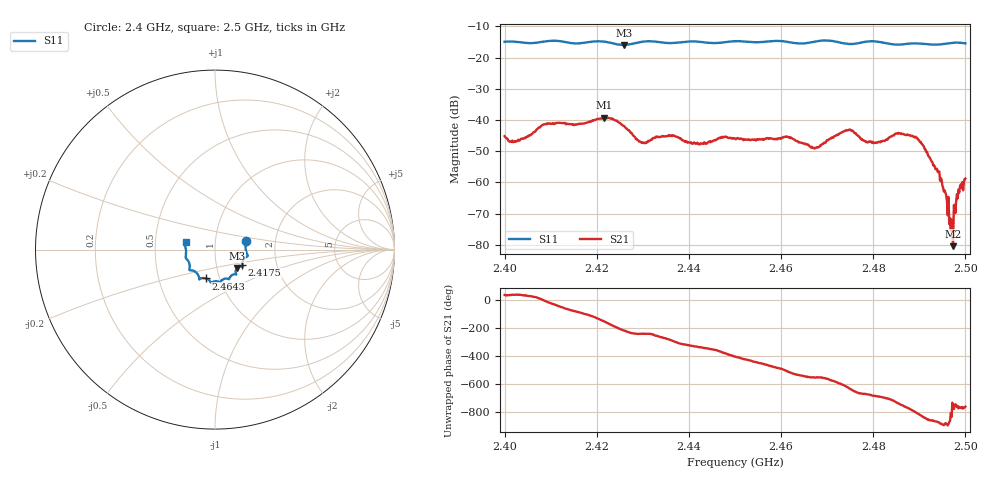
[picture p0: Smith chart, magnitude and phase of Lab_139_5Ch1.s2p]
# Hz S RI R 50
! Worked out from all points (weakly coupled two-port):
!   601 points, 2.4 GHz to 2.5 GHz, reference 50 ohm
!   highest |S21| = -39.27 dB at 2.4215 GHz (marker M1); lowest = -80.5 dB at 2.4973 GHz (marker M2)
!   lowest |S11| = -16.0 dB at 2.4258 GHz (marker M3), VSWR 1.38, Z = 62.3 - j13.2 ohm
!   |S11| at or under -10 dB: start of sweep to end of sweep
!   S12 and S22 are empty: the file has one direction only
!   S11 on the Smith chart (normalised r, x): 2.4 GHz: 1.41, +0.14; 2.4175 GHz: 1.34, -0.23; 2.4643 GHz: 0.86, -0.29; 2.5 GHz: 0.72, +0.06
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2.4e9  0.1729 0.0487  0.00457 0.00305  0 0  0 0
2.402333e9  0.1753 0.0388  0.00365 0.00257  0 0  0 0
2.416667e9  0.1531 -0.0744  -0.000676 -0.00867  0 0  0 0
2.4175e9  0.1522 -0.0838  -0.00184 -0.00868  0 0  0 0
2.4215e9  0.1528 -0.0964  -0.00971 -0.0049  0 0  0 0
2.425833e9  0.1215 -0.1032  -0.00624 0.00505  0 0  0 0
2.429667e9  0.117 -0.1349  -0.00201 0.00385  0 0  0 0
2.433333e9  0.1128 -0.1373  -0.000847 0.00526  0 0  0 0
2.45e9  0.0288 -0.1808  0.00359 -0.00354  0 0  0 0
2.464333e9  -0.0499 -0.1608  -0.00432 -7.1e-05  0 0  0 0
2.466667e9  -0.076 -0.1593  -0.00362 0.000898  0 0  0 0
2.4745e9  -0.1017 -0.131  -0.000679 0.00679  0 0  0 0
2.4785e9  -0.1386 -0.1151  0.00297 0.00325  0 0  0 0
2.483333e9  -0.1408 -0.0898  0.00507 0.0011  0 0  0 0
2.486e9  -0.1495 -0.063  0.00537 -0.00294  0 0  0 0
2.4905e9  -0.1625 -0.0378  -0.00131 -0.00393  0 0  0 0
2.494333e9  -0.1622 0.00196  -0.00137 -0.000611  0 0  0 0
2.495833e9  -0.1664 0.0181  -0.000601 -0.000154  0 0  0 0
2.496833e9  -0.1693 0.0258  5.15e-06 -0.000171  0 0  0 0
2.497333e9  -0.1702 0.0289  5.51e-05 -7.72e-05  0 0  0 0
2.4985e9  -0.1699 0.0351  0.000443 -0.000623  0 0  0 0
2.5e9  -0.1638 0.0426  0.000845 -0.000783  0 0  0 0
